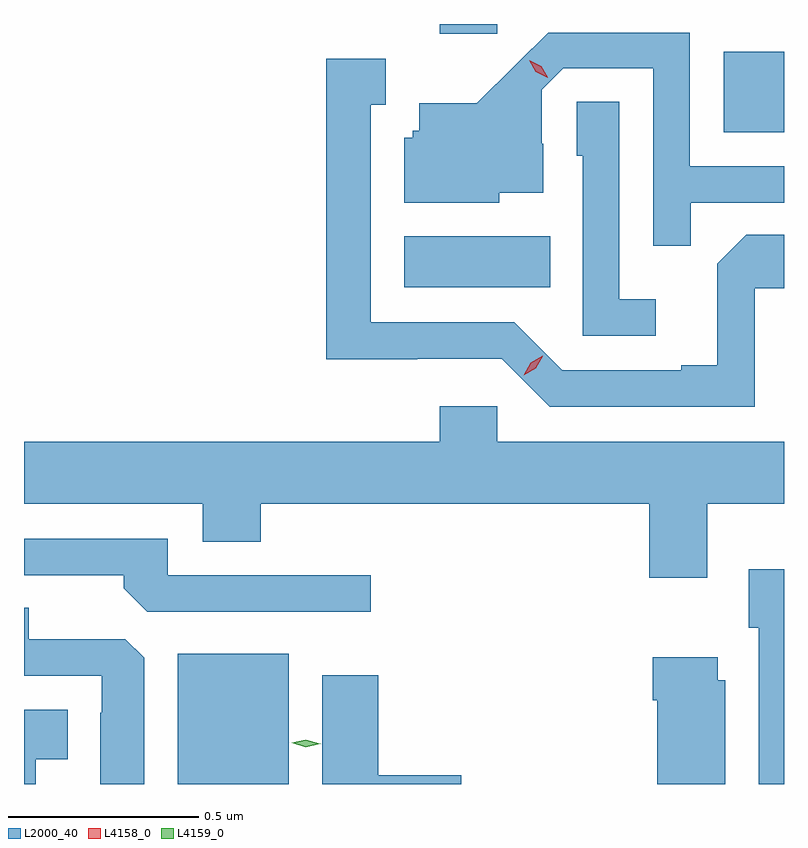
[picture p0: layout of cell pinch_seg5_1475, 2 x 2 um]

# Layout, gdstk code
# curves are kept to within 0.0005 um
import gdstk
lib = gdstk.Library(unit=1e-6, precision=1e-09)
def R(c, l, rs):  # rectangles x0, y0, x1, y1
    for r in rs: c.add(gdstk.rectangle(r[:2], r[2:], *l))
def P(c, l, *ps):  # polygons
    for p in ps: c.add(gdstk.Polygon(p, *l))
L2000_40 = (2000, 40)
L4158_0 = (4158, 0)
L4159_0 = (4159, 0)

pinch_seg5_1475 = lib.new_cell('pinch_seg5_1475')
R(pinch_seg5_1475, L2000_40, [(136.775,911.967,137.068,912.31), (137.372,913.274,137.756,913.408), (138.212,913.682,138.371,913.894), (137.465,913.941,137.616,913.967)])
P(pinch_seg5_1475, L2000_40, [(138.125,913.497),(138.371,913.497),(138.371,913.593),(138.123,913.593),(138.123,913.944),(137.75,913.944),(137.563,913.759),(137.411,913.759),(137.411,913.686),(137.394,913.686),(137.394,913.668),(137.372,913.668),(137.372,913.496),(137.622,913.496),(137.622,913.523),(137.737,913.523),(137.737,913.652),(137.733,913.652),(137.733,913.794),(137.79,913.851),(138.027,913.851),(138.027,913.384),(138.125,913.384)],
  [(138.294,913.272),(138.371,913.272),(138.371,913.412),(138.271,913.412),(138.195,913.336),(138.195,913.069),(138.101,913.069),(138.101,913.056),(137.787,913.056),(137.661,913.182),(137.284,913.182),(137.284,913.755),(137.323,913.755),(137.323,913.876),(137.166,913.876),(137.166,913.085),(137.406,913.085),(137.406,913.086),(137.628,913.086),(137.754,912.96),(138.294,912.96)],
  [(138.034,913.243),(137.937,913.243),(137.937,913.763),(137.826,913.763),(137.826,913.62),(137.841,913.62),(137.841,913.146),(138.034,913.146)],
  [(138.169,912.704),(138.371,912.704),(138.371,912.868),(137.616,912.868),(137.616,912.961),(137.465,912.961),(137.465,912.868),(136.371,912.868),(136.371,912.704),(136.841,912.704),(136.841,912.605),(136.994,912.605),(136.994,912.704),(138.017,912.704),(138.017,912.51),(138.169,912.51)],
  [(137.284,912.516),(136.749,912.516),(136.749,912.612),(136.371,912.612),(136.371,912.516),(136.634,912.516),(136.634,912.482),(136.695,912.42),(137.284,912.42)],
  [(138.371,912.532),(138.278,912.532),(138.278,912.378),(138.305,912.378),(138.305,911.967),(138.371,911.967)],
  [(136.687,912.299),(136.638,912.348),(136.384,912.348),(136.384,912.431),(136.371,912.431),(136.371,912.252),(136.575,912.252),(136.575,912.155),(136.571,912.155),(136.571,911.967),(136.687,911.967)],
  [(138.217,912.24),(138.196,912.24),(138.196,912.301),(138.026,912.301),(138.026,912.188),(138.038,912.188),(138.038,911.967),(138.217,911.967)],
  [(137.521,911.99),(137.303,911.99),(137.303,912.253),(137.156,912.253),(137.156,911.967),(137.521,911.967)],
  [(136.402,912.032),(136.486,912.032),(136.486,912.163),(136.371,912.163),(136.371,911.967),(136.402,911.967)])
P(pinch_seg5_1475, L4158_0, [(137.749,913.826),(137.718,913.842),(137.701,913.872),(137.701,913.872),(137.701,913.872),(137.732,913.856),(137.749,913.827),(137.749,913.826)],
  [(137.686,913.043),(137.686,913.043),(137.704,913.075),(137.736,913.094),(137.736,913.094),(137.736,913.093),(137.718,913.061),(137.686,913.043)])
P(pinch_seg5_1475, L4159_0, [(137.113,912.064),(137.075,912.075),(137.074,912.075),(137.075,912.075),(137.113,912.084),(137.151,912.073),(137.152,912.073),(137.151,912.073)])

lib.write_gds('pinch_seg5_1475.gds')
